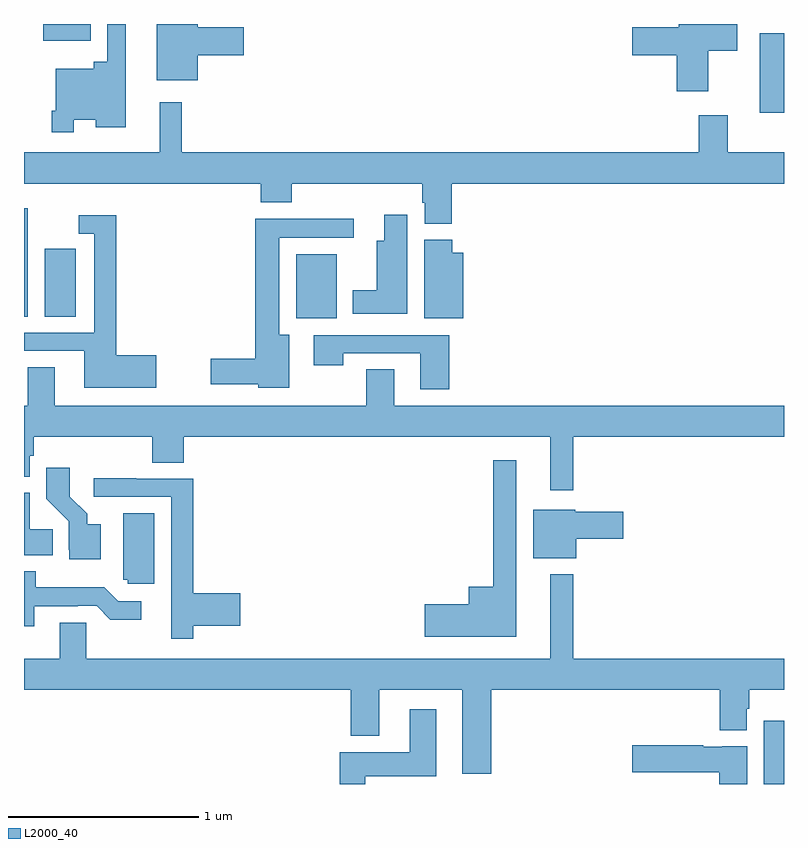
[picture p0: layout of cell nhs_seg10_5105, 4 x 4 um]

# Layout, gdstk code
import gdstk
lib = gdstk.Library(unit=1e-6, precision=1e-09)
def R(c, l, rs):  # rectangles x0, y0, x1, y1
    for r in rs: c.add(gdstk.rectangle(r[:2], r[2:], *l))
def P(c, l, *ps):  # polygons
    for p in ps: c.add(gdstk.Polygon(p, *l))
L2000_40 = (2000, 40)

nhs_seg10_5105 = lib.new_cell('nhs_seg10_5105')
R(nhs_seg10_5105, L2000_40, [(410.894,1286.5,411,1286.833), (408.434,1288.952,408.646,1289.287), (407,1288.96,407.02,1289.53), (407.108,1288.96,407.272,1289.317), (410.873,1290.033,411,1290.451), (407.102,1290.413,407.35,1290.5)])
P(nhs_seg10_5105, L2000_40, [(407.914,1290.335),(408.157,1290.335),(408.157,1290.482),(407.914,1290.482),(407.914,1290.5),(407.699,1290.5),(407.699,1290.203),(407.914,1290.203)],
  [(407.262,1289.996),(407.378,1289.996),(407.378,1289.957),(407.536,1289.957),(407.536,1290.5),(407.439,1290.5),(407.439,1290.301),(407.366,1290.301),(407.366,1290.265),(407.166,1290.265),(407.166,1290.043),(407.146,1290.043),(407.146,1289.931),(407.262,1289.931)],
  [(410.602,1290.358),(410.755,1290.358),(410.755,1290.5),(410.447,1290.5),(410.447,1290.482),(410.202,1290.482),(410.202,1290.335),(410.435,1290.335),(410.435,1290.147),(410.602,1290.147)],
  [(409.25,1289.66),(411,1289.66),(411,1289.824),(410.704,1289.824),(410.704,1290.019),(410.552,1290.019),(410.552,1289.824),(407.831,1289.824),(407.831,1290.088),(407.714,1290.088),(407.714,1289.824),(407,1289.824),(407,1289.66),(408.245,1289.66),(408.245,1289.561),(408.41,1289.561),(408.41,1289.66),(409.097,1289.66),(409.097,1289.559),(409.109,1289.559),(409.109,1289.449),(409.25,1289.449)],
  [(409.018,1289.497),(408.896,1289.497),(408.896,1289.359),(408.857,1289.359),(408.857,1289.098),(408.731,1289.098),(408.731,1288.976),(409.018,1288.976)],
  [(407.695,1288.757),(407.486,1288.757),(407.486,1289.494),(407.289,1289.494),(407.289,1289.397),(407.37,1289.397),(407.37,1288.875),(407,1288.875),(407,1288.779),(407.318,1288.779),(407.318,1288.586),(407.695,1288.586)],
  [(408.397,1288.864),(408.343,1288.864),(408.343,1289.376),(408.736,1289.376),(408.736,1289.474),(408.218,1289.474),(408.218,1288.739),(407.982,1288.739),(407.982,1288.604),(408.234,1288.604),(408.234,1288.586),(408.397,1288.586)],
  [(409.312,1289.296),(409.253,1289.296),(409.253,1289.364),(409.106,1289.364),(409.106,1288.952),(409.312,1288.952)],
  [(409.238,1288.863),(408.525,1288.863),(408.525,1288.704),(408.681,1288.704),(408.681,1288.767),(409.085,1288.767),(409.085,1288.578),(409.238,1288.578)],
  [(407.021,1288.492),(407,1288.492),(407,1288.118),(407.031,1288.118),(407.031,1288.227),(407.051,1288.227),(407.051,1288.328),(407.675,1288.328),(407.675,1288.192),(407.84,1288.192),(407.84,1288.328),(409.769,1288.328),(409.769,1288.047),(409.891,1288.047),(409.891,1288.328),(411,1288.328),(411,1288.492),(408.949,1288.492),(408.949,1288.682),(408.802,1288.682),(408.802,1288.492),(407.161,1288.492),(407.161,1288.694),(407.021,1288.694)],
  [(409.591,1288.204),(409.47,1288.204),(409.47,1287.538),(409.34,1287.538),(409.34,1287.446),(409.11,1287.446),(409.11,1287.275),(409.591,1287.275)],
  [(407.404,1287.868),(407.332,1287.868),(407.332,1287.923),(407.242,1288.013),(407.242,1288.165),(407.116,1288.165),(407.116,1288.002),(407.235,1287.883),(407.235,1287.732),(407.237,1287.732),(407.237,1287.683),(407.404,1287.683)],
  [(407.891,1287.332),(408.139,1287.332),(408.139,1287.503),(407.891,1287.503),(407.891,1288.107),(407.591,1288.107),(407.591,1288.11),(407.367,1288.11),(407.367,1288.011),(407.775,1288.011),(407.775,1287.486),(407.774,1287.486),(407.774,1287.264),(407.891,1287.264)],
  [(407.15,1287.842),(407.029,1287.842),(407.029,1288.033),(407,1288.033),(407,1287.704),(407.15,1287.704)],
  [(409.906,1287.791),(410.155,1287.791),(410.155,1287.933),(409.902,1287.933),(409.902,1287.943),(409.679,1287.943),(409.679,1287.689),(409.906,1287.689)],
  [(407.686,1287.925),(407.522,1287.925),(407.522,1287.576),(407.547,1287.576),(407.547,1287.555),(407.686,1287.555)],
  [(407.053,1287.435),(407.282,1287.435),(407.282,1287.438),(407.382,1287.438),(407.455,1287.365),(407.617,1287.365),(407.617,1287.462),(407.496,1287.462),(407.423,1287.535),(407.061,1287.535),(407.061,1287.619),(407,1287.619),(407,1287.33),(407.053,1287.33)],
  [(409.46,1286.996),(410.663,1286.996),(410.663,1286.783),(410.803,1286.783),(410.803,1286.895),(410.816,1286.895),(410.816,1286.996),(411,1286.996),(411,1287.16),(409.891,1287.16),(409.891,1287.604),(409.769,1287.604),(409.769,1287.16),(407.328,1287.16),(407.328,1287.35),(407.189,1287.35),(407.189,1287.16),(407,1287.16),(407,1286.996),(408.719,1286.996),(408.719,1286.753),(408.871,1286.753),(408.871,1286.996),(409.307,1286.996),(409.307,1286.555),(409.46,1286.555)],
  [(408.796,1286.54),(409.171,1286.54),(409.171,1286.893),(409.031,1286.893),(409.031,1286.668),(408.662,1286.668),(408.662,1286.5),(408.796,1286.5)],
  [(410.806,1286.698),(410.676,1286.698),(410.676,1286.695),(410.576,1286.695),(410.576,1286.703),(410.202,1286.703),(410.202,1286.561),(410.66,1286.561),(410.66,1286.5),(410.806,1286.5)])

lib.write_gds('nhs_seg10_5105.gds')
